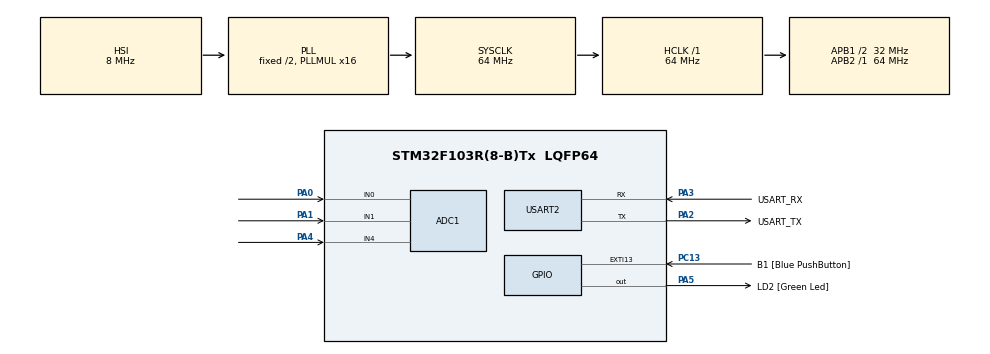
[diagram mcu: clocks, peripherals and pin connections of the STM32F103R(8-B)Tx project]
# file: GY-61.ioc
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ADC1.Channel-0\#ChannelRegularConversion=ADC_CHANNEL_0
ADC1.Channel-1\#ChannelRegularConversion=ADC_CHANNEL_1
ADC1.Channel-2\#ChannelRegularConversion=ADC_CHANNEL_4
ADC1.ContinuousConvMode=ENABLE
ADC1.NbrOfConversion=3
ADC1.NbrOfConversionFlag=1
ADC1.Rank-0\#ChannelRegularConversion=1
ADC1.Rank-1\#ChannelRegularConversion=2
ADC1.Rank-2\#ChannelRegularConversion=3
ADC1.SamplingTime-0\#ChannelRegularConversion=ADC_SAMPLETIME_239CYCLES_5
ADC1.SamplingTime-1\#ChannelRegularConversion=ADC_SAMPLETIME_239CYCLES_5
ADC1.SamplingTime-2\#ChannelRegularConversion=ADC_SAMPLETIME_239CYCLES_5
ADC1.master=1
Dma.ADC1.0.Direction=DMA_PERIPH_TO_MEMORY
Dma.ADC1.0.Instance=DMA1_Channel1
Dma.ADC1.0.MemDataAlignment=DMA_MDATAALIGN_WORD
Dma.ADC1.0.MemInc=DMA_MINC_ENABLE
Dma.ADC1.0.Mode=DMA_CIRCULAR
Dma.ADC1.0.PeriphDataAlignment=DMA_PDATAALIGN_WORD
Dma.ADC1.0.PeriphInc=DMA_PINC_DISABLE
Dma.ADC1.0.Priority=DMA_PRIORITY_LOW
Dma.Request0=ADC1
Mcu.Family=STM32F1
Mcu.Name=STM32F103R(8-B)Tx
Mcu.Package=LQFP64
NVIC.DMA1_Channel1_IRQn=true\:0\:0\:false\:false\:true\:false\:true\:true
NVIC.EXTI15_10_IRQn=true\:0\:0\:false\:false\:true\:true\:true\:true
NVIC.PriorityGroup=NVIC_PRIORITYGROUP_4
PA0-WKUP.Signal=ADCx_IN0
PA1.Signal=ADCx_IN1
PA13.GPIO_Label=TMS
PA13.Mode=Serial_Wire
PA13.Signal=SYS_JTMS-SWDIO
PA14.GPIO_Label=TCK
PA14.Mode=Serial_Wire
PA14.Signal=SYS_JTCK-SWCLK
PA2.GPIO_Label=USART_TX
PA2.GPIO_Mode=GPIO_MODE_AF_PP
PA2.GPIO_PuPd=GPIO_NOPULL
PA2.GPIO_Speed=GPIO_SPEED_FREQ_LOW
PA2.Mode=Asynchronous
PA2.Signal=USART2_TX
PA3.GPIO_Label=USART_RX
PA3.GPIO_Mode=GPIO_MODE_AF_PP
PA3.GPIO_PuPd=GPIO_NOPULL
PA3.GPIO_Speed=GPIO_SPEED_FREQ_LOW
PA3.Mode=Asynchronous
PA3.Signal=USART2_RX
PA4.Signal=ADCx_IN4
PA5.GPIO_Label=LD2 [Green Led]
PA5.GPIO_ModeDefaultOutputPP=GPIO_MODE_OUTPUT_PP
PA5.GPIO_PuPd=GPIO_NOPULL
PA5.GPIO_Speed=GPIO_SPEED_FREQ_LOW
PA5.Signal=GPIO_Output
PB3.GPIO_Label=SWO
PB3.Signal=SYS_JTDO-TRACESWO
PC13-TAMPER-RTC.GPIO_Label=B1 [Blue PushButton]
PC13-TAMPER-RTC.GPIO_PuPd=GPIO_NOPULL
PC13-TAMPER-RTC.Signal=GPXTI13
PC14-OSC32_IN.Mode=LSE-External-Oscillator
PC14-OSC32_IN.Signal=RCC_OSC32_IN
PC15-OSC32_OUT.Mode=LSE-External-Oscillator
PC15-OSC32_OUT.Signal=RCC_OSC32_OUT
PD0-OSC_IN.Mode=HSE-External-Clock-Source
PD0-OSC_IN.Signal=RCC_OSC_IN
PD1-OSC_OUT.Mode=HSE-External-Clock-Source
PD1-OSC_OUT.Signal=RCC_OSC_OUT
ProjectManager.HeapSize=0x200
ProjectManager.StackSize=0x400
ProjectManager.TargetToolchain=STM32CubeIDE
RCC.AHBFreq_Value=64000000
RCC.APB1CLKDivider=RCC_HCLK_DIV2
RCC.APB1Freq_Value=32000000
RCC.APB1TimFreq_Value=64000000
RCC.APB2Freq_Value=64000000
RCC.APB2TimFreq_Value=64000000
RCC.HCLKFreq_Value=64000000
RCC.PLLMUL=RCC_PLL_MUL16
RCC.RTCClockSelection=RCC_RTCCLKSOURCE_LSE
RCC.SYSCLKFreq_VALUE=64000000
RCC.SYSCLKSource=RCC_SYSCLKSOURCE_PLLCLK
RCC.USBFreq_Value=64000000
SH.ADCx_IN0.0=ADC1_IN0,IN0
SH.ADCx_IN1.0=ADC1_IN1,IN1
SH.ADCx_IN4.0=ADC1_IN4,IN4
USART2.VirtualMode=VM_ASYNC
board=NUCLEO-F103RB

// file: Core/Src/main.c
/* USER CODE BEGIN Header */
/**
  ******************************************************************************
  * @file           : main.c
  * @brief          : Main program body
  ******************************************************************************
  * @attention
  *
  * Copyright (c) 2022 STMicroelectronics.
  * All rights reserved.
  *
  * This software is licensed under terms that can be found in the LICENSE file
  * in the root directory of this software component.
  * If no LICENSE file comes with this software, it is provided AS-IS.
  *
  ******************************************************************************
  */
/* USER CODE END Header */
#include "main.h"

/* USER CODE BEGIN Includes */
#include "stdio.h"
/* USER CODE END Includes */

/* USER CODE BEGIN PD */
#define PI 3.14
#define RAD_TO_DEG 57.295779513082320876798154814105f
/* USER CODE END PD */

 ADC_HandleTypeDef hadc1;
DMA_HandleTypeDef hdma_adc1;

UART_HandleTypeDef huart2;

void SystemClock_Config(void);
static void MX_GPIO_Init(void);
static void MX_DMA_Init(void);
static void MX_USART2_UART_Init(void);
static void MX_ADC1_Init(void);

/* USER CODE BEGIN 0 */
#ifdef __GNUC__
/* With GCC, small printf (option LD Linker->Libraries->Small printf
   set to 'Yes') calls __io_putchar() */
#define PUTCHAR_PROTOTYPE int __io_putchar(int ch)
#else
#define PUTCHAR_PROTOTYPE int fputc(int ch, FILE *f)
#endif /* __GNUC__ */

PUTCHAR_PROTOTYPE
{
  /* Place your implementation of fputc here */
  /* e.g. write a character to the USART1 and Loop until the end of transmission */
  HAL_UART_Transmit(&huart2, (uint8_t *)&ch, 1, 0xFFFF);

  return ch;
}

uint32_t adc_value[3];
double x;
double y;
double z;

/* USER CODE END 0 */

int main(void)
{
  /* USER CODE BEGIN 1 */
	long map(long x, long in_min, long in_max, long out_min, long out_max)
	{
	  return (x - in_min) * (out_max - out_min) / (in_max - in_min) + out_min;
	}
  /* USER CODE END 1 */

  /* MCU Configuration--------------------------------------------------------*/

  /* Reset of all peripherals, Initializes the Flash interface and the Systick. */
  HAL_Init();

  /* Configure the system clock */
  SystemClock_Config();

  /* Initialize all configured peripherals */
  MX_GPIO_Init();
  MX_DMA_Init();
  MX_USART2_UART_Init();
  MX_ADC1_Init();
  /* USER CODE BEGIN 2 */
  HAL_ADC_Start_DMA(&hadc1, adc_value, 3);
  /* USER CODE END 2 */

  /* Infinite loop */
  while (1)
  {

	  int xAng = map(adc_value[0], 1541, 2341, -90, 90);
	  int yAng = map(adc_value[1], 1552, 2376, -90, 90);
	  int zAng = map(adc_value[2], 1723, 3369, -90, 90);

//	  x = RAD_TO_DEG * (atan2(-yAng, -zAng) + PI);
//	  y = RAD_TO_DEG * (atan2(-xAng, -zAng) + PI);
//	  z = RAD_TO_DEG * (atan2(-yAng, -xAng) + PI);

	  printf("X_Value : %ld, Y_Value : %ld,  Z_Value : %ld\r\n", xAng, yAng, zAng);
	  HAL_Delay(200);
  }
}

void SystemClock_Config(void)
{
  RCC_OscInitTypeDef RCC_OscInitStruct = {0};
  RCC_ClkInitTypeDef RCC_ClkInitStruct = {0};
  RCC_PeriphCLKInitTypeDef PeriphClkInit = {0};

  /** Initializes the RCC Oscillators according to the specified parameters
  * in the RCC_OscInitTypeDef structure.
  */
  RCC_OscInitStruct.OscillatorType = RCC_OSCILLATORTYPE_HSI;
  RCC_OscInitStruct.HSIState = RCC_HSI_ON;
  RCC_OscInitStruct.HSICalibrationValue = RCC_HSICALIBRATION_DEFAULT;
  RCC_OscInitStruct.PLL.PLLState = RCC_PLL_ON;
  RCC_OscInitStruct.PLL.PLLSource = RCC_PLLSOURCE_HSI_DIV2;
  RCC_OscInitStruct.PLL.PLLMUL = RCC_PLL_MUL16;
  if (HAL_RCC_OscConfig(&RCC_OscInitStruct) != HAL_OK)
  {
    Error_Handler();
  }

  /** Initializes the CPU, AHB and APB buses clocks
  */
  RCC_ClkInitStruct.ClockType = RCC_CLOCKTYPE_HCLK|RCC_CLOCKTYPE_SYSCLK
                              |RCC_CLOCKTYPE_PCLK1|RCC_CLOCKTYPE_PCLK2;
  RCC_ClkInitStruct.SYSCLKSource = RCC_SYSCLKSOURCE_PLLCLK;
  RCC_ClkInitStruct.AHBCLKDivider = RCC_SYSCLK_DIV1;
  RCC_ClkInitStruct.APB1CLKDivider = RCC_HCLK_DIV2;
  RCC_ClkInitStruct.APB2CLKDivider = RCC_HCLK_DIV1;

  if (HAL_RCC_ClockConfig(&RCC_ClkInitStruct, FLASH_LATENCY_2) != HAL_OK)
  {
    Error_Handler();
  }
  PeriphClkInit.PeriphClockSelection = RCC_PERIPHCLK_ADC;
  PeriphClkInit.AdcClockSelection = RCC_ADCPCLK2_DIV2;
  if (HAL_RCCEx_PeriphCLKConfig(&PeriphClkInit) != HAL_OK)
  {
    Error_Handler();
  }
}

static void MX_ADC1_Init(void)
{

  ADC_ChannelConfTypeDef sConfig = {0};

  /** Common config
  */
  hadc1.Instance = ADC1;
  hadc1.Init.ScanConvMode = ADC_SCAN_ENABLE;
  hadc1.Init.ContinuousConvMode = ENABLE;
  hadc1.Init.DiscontinuousConvMode = DISABLE;
  hadc1.Init.ExternalTrigConv = ADC_SOFTWARE_START;
  hadc1.Init.DataAlign = ADC_DATAALIGN_RIGHT;
  hadc1.Init.NbrOfConversion = 3;
  if (HAL_ADC_Init(&hadc1) != HAL_OK)
  {
    Error_Handler();
  }

  /** Configure Regular Channel
  */
  sConfig.Channel = ADC_CHANNEL_0;
  sConfig.Rank = ADC_REGULAR_RANK_1;
  sConfig.SamplingTime = ADC_SAMPLETIME_239CYCLES_5;
  if (HAL_ADC_ConfigChannel(&hadc1, &sConfig) != HAL_OK)
  {
    Error_Handler();
  }

  /** Configure Regular Channel
  */
  sConfig.Channel = ADC_CHANNEL_1;
  sConfig.Rank = ADC_REGULAR_RANK_2;
  if (HAL_ADC_ConfigChannel(&hadc1, &sConfig) != HAL_OK)
  {
    Error_Handler();
  }

  /** Configure Regular Channel
  */
  sConfig.Channel = ADC_CHANNEL_4;
  sConfig.Rank = ADC_REGULAR_RANK_3;
  if (HAL_ADC_ConfigChannel(&hadc1, &sConfig) != HAL_OK)
  {
    Error_Handler();
  }

}

static void MX_USART2_UART_Init(void)
{

  huart2.Instance = USART2;
  huart2.Init.BaudRate = 115200;
  huart2.Init.WordLength = UART_WORDLENGTH_8B;
  huart2.Init.StopBits = UART_STOPBITS_1;
  huart2.Init.Parity = UART_PARITY_NONE;
  huart2.Init.Mode = UART_MODE_TX_RX;
  huart2.Init.HwFlowCtl = UART_HWCONTROL_NONE;
  huart2.Init.OverSampling = UART_OVERSAMPLING_16;
  if (HAL_UART_Init(&huart2) != HAL_OK)
  {
    Error_Handler();
  }

}

static void MX_DMA_Init(void)
{

  /* DMA controller clock enable */
  __HAL_RCC_DMA1_CLK_ENABLE();

  /* DMA interrupt init */
  /* DMA1_Channel1_IRQn interrupt configuration */
  HAL_NVIC_SetPriority(DMA1_Channel1_IRQn, 0, 0);
  HAL_NVIC_EnableIRQ(DMA1_Channel1_IRQn);

}

static void MX_GPIO_Init(void)
{
  GPIO_InitTypeDef GPIO_InitStruct = {0};

  /* GPIO Ports Clock Enable */
  __HAL_RCC_GPIOC_CLK_ENABLE();
  __HAL_RCC_GPIOD_CLK_ENABLE();
  __HAL_RCC_GPIOA_CLK_ENABLE();
  __HAL_RCC_GPIOB_CLK_ENABLE();

  /*Configure GPIO pin Output Level */
  HAL_GPIO_WritePin(LD2_GPIO_Port, LD2_Pin, GPIO_PIN_RESET);

  /*Configure GPIO pin : B1_Pin */
  GPIO_InitStruct.Pin = B1_Pin;
  GPIO_InitStruct.Mode = GPIO_MODE_IT_RISING;
  GPIO_InitStruct.Pull = GPIO_NOPULL;
  HAL_GPIO_Init(B1_GPIO_Port, &GPIO_InitStruct);

  /*Configure GPIO pin : LD2_Pin */
  GPIO_InitStruct.Pin = LD2_Pin;
  GPIO_InitStruct.Mode = GPIO_MODE_OUTPUT_PP;
  GPIO_InitStruct.Pull = GPIO_NOPULL;
  GPIO_InitStruct.Speed = GPIO_SPEED_FREQ_LOW;
  HAL_GPIO_Init(LD2_GPIO_Port, &GPIO_InitStruct);

  /* EXTI interrupt init*/
  HAL_NVIC_SetPriority(EXTI15_10_IRQn, 0, 0);
  HAL_NVIC_EnableIRQ(EXTI15_10_IRQn);

}

void Error_Handler(void)
{
  __disable_irq();
  while (1)
  {
  }
}
